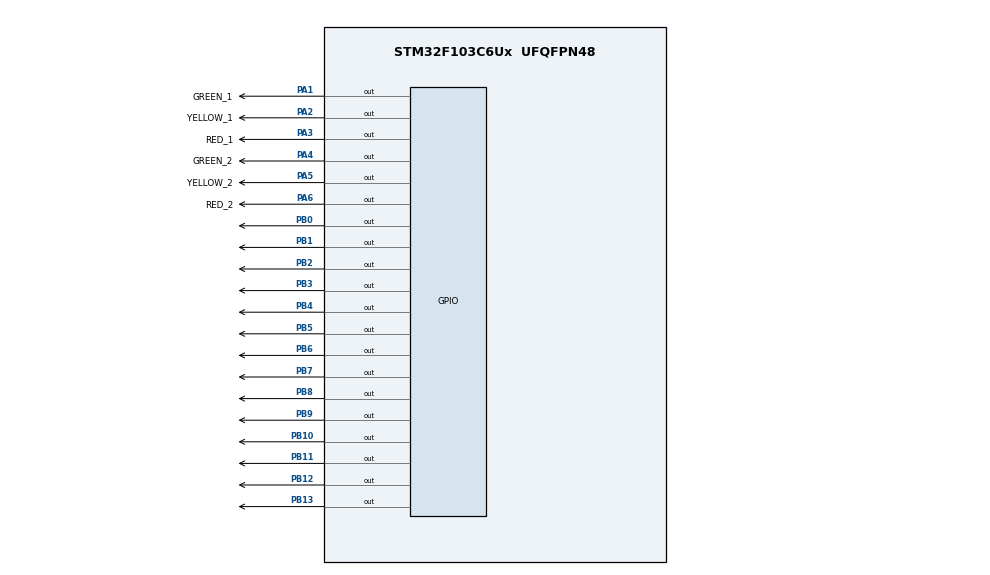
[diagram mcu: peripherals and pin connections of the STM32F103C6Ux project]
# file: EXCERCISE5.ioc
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Mcu.Family=STM32F1
Mcu.Name=STM32F103C6Ux
Mcu.Package=UFQFPN48
NVIC.PriorityGroup=NVIC_PRIORITYGROUP_4
PA1.GPIO_Label=GREEN_1
PA1.Signal=GPIO_Output
PA2.GPIO_Label=YELLOW_1
PA2.Signal=GPIO_Output
PA3.GPIO_Label=RED_1
PA3.Signal=GPIO_Output
PA4.GPIO_Label=GREEN_2
PA4.Signal=GPIO_Output
PA5.GPIO_Label=YELLOW_2
PA5.Signal=GPIO_Output
PA6.GPIO_Label=RED_2
PA6.Signal=GPIO_Output
PB0.Signal=GPIO_Output
PB1.Signal=GPIO_Output
PB10.Signal=GPIO_Output
PB11.Signal=GPIO_Output
PB12.Signal=GPIO_Output
PB13.Signal=GPIO_Output
PB2.Signal=GPIO_Output
PB3.Signal=GPIO_Output
PB4.Signal=GPIO_Output
PB5.Signal=GPIO_Output
PB6.Signal=GPIO_Output
PB7.Signal=GPIO_Output
PB8.Signal=GPIO_Output
PB9.Signal=GPIO_Output
ProjectManager.HeapSize=0x200
ProjectManager.StackSize=0x400
ProjectManager.TargetToolchain=STM32CubeIDE
RCC.APB1Freq_Value=8000000
RCC.APB2Freq_Value=8000000
VP_SYS_VS_ND.Mode=No_Debug
board=custom

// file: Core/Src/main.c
/* USER CODE BEGIN Header */
/**
  ******************************************************************************
  * @file           : main.c
  * @brief          : Main program body
  ******************************************************************************
  * @attention
  *
  * <h2><center>&copy; Copyright (c) 2023 STMicroelectronics.
  * All rights reserved.</center></h2>
  *
  * This software component is licensed by ST under BSD 3-Clause license,
  * the "License"; You may not use this file except in compliance with the
  * License. You may obtain a copy of the License at:
  *                        opensource.org/licenses/BSD-3-Clause
  *
  ******************************************************************************
  */
/* USER CODE END Header */
#include "main.h"

void SystemClock_Config(void);
static void MX_GPIO_Init(void);

int main(void)
{

  /* MCU Configuration--------------------------------------------------------*/

  /* Reset of all peripherals, Initializes the Flash interface and the Systick. */
  HAL_Init();

  /* Configure the system clock */
  SystemClock_Config();

  /* Initialize all configured peripherals */
  MX_GPIO_Init();

  /* Infinite loop */
  /* USER CODE BEGIN WHILE */
  void display7SEG( int num, uint32_t GPIO_PIN ){
    char LED7SEG [10] = {0xC0, 0xF9, 0xA4, 0xB0, 0x99, 0x92, 0x82, 0xF8, 0x80, 0x90 };
    for ( int i = 0; i < 7; ++ i) {
    HAL_GPIO_WritePin ( GPIOB , GPIO_PIN << i , ( LED7SEG [num ] >> i ) & 1) ;
    }
    }
  int countRED = 5, countYELLOW = 2, countGREEN = 3, LED_status = 1;
  while (1)
  {
		  if (LED_status == 1){
			  	  	  display7SEG(countGREEN, GPIO_PIN_7);
			  	  	  display7SEG(countRED, GPIO_PIN_0);
			  	  	  HAL_GPIO_WritePin(GPIOA, GREEN_1_Pin, SET);
			  	  	  HAL_GPIO_WritePin(GPIOA, YELLOW_1_Pin, RESET);
			  	  	  HAL_GPIO_WritePin(GPIOA, RED_1_Pin, RESET);
			  	  	  HAL_GPIO_WritePin(GPIOA, GREEN_2_Pin, RESET);
			  	  	  HAL_GPIO_WritePin(GPIOA, YELLOW_2_Pin, RESET);
			  	  	  HAL_GPIO_WritePin(GPIOA, RED_2_Pin, SET);
			  	  	  countGREEN --;
			  	  	  countRED --;
			  	  	  if (countGREEN < 0 ){
			  	  		  countGREEN = 3;
			  	  		  countRED ++;
			  	  		  LED_status = 2;
			      	  	  }
		  	  		}
	  	  if (LED_status == 2){
	  		      	  display7SEG(countYELLOW, GPIO_PIN_7);
	  		      	  display7SEG(countRED, GPIO_PIN_0);
	  		      	  HAL_GPIO_WritePin(GPIOA, GREEN_1_Pin, RESET);
	  		      	  HAL_GPIO_WritePin(GPIOA, YELLOW_1_Pin, SET);
	  		      	  HAL_GPIO_WritePin(GPIOA, RED_1_Pin, RESET);
	  		      	  HAL_GPIO_WritePin(GPIOA, GREEN_2_Pin, RESET);
	  		      	  HAL_GPIO_WritePin(GPIOA, YELLOW_2_Pin, RESET);
	  		      	  HAL_GPIO_WritePin(GPIOA, RED_2_Pin, SET);
	  		      	  countYELLOW --;
	  		      	  countRED --;
	  	  		  	  if (countYELLOW < 0){
	  	  		  		  countYELLOW = 2;
	  	  		  		  countRED = 5;
	  	  		  		  LED_status = 3;
	  	  		  	  }
	  	  	  	  }
	  	  if (LED_status == 3){
	  		          display7SEG(countRED, GPIO_PIN_7);
	  			  	  display7SEG(countGREEN, GPIO_PIN_0);
	  	  	  		  HAL_GPIO_WritePin(GPIOA, GREEN_1_Pin, RESET);
	  	  	  		  HAL_GPIO_WritePin(GPIOA, YELLOW_1_Pin, RESET);
	  	  	  		  HAL_GPIO_WritePin(GPIOA, RED_1_Pin, SET);
	  	  	  		  HAL_GPIO_WritePin(GPIOA, GREEN_2_Pin, SET);
	  	  	  		  HAL_GPIO_WritePin(GPIOA, YELLOW_2_Pin, RESET);
	  	  	  		  HAL_GPIO_WritePin(GPIOA, RED_2_Pin, RESET);
	  	  	  		  countGREEN --;
	  	  	  		  countRED --;
	  	  	  		  if (countGREEN < 0){
	  	  	  			  countGREEN = 3;
	  	  	  			  countRED ++;
	  	  	  			  LED_status = 4;
	  	  	  		  }
	  	  	  	  }
	  	  if (LED_status == 4){
	  		          display7SEG(countRED, GPIO_PIN_7);
	  			  	  display7SEG(countYELLOW, GPIO_PIN_0);
	  	  	  		  HAL_GPIO_WritePin(GPIOA, GREEN_1_Pin, RESET);
	  	  	  		  HAL_GPIO_WritePin(GPIOA, YELLOW_1_Pin, RESET);
	  	  	  		  HAL_GPIO_WritePin(GPIOA, RED_1_Pin, SET);
	  	  	  		  HAL_GPIO_WritePin(GPIOA, GREEN_2_Pin, RESET);
	  	  	  		  HAL_GPIO_WritePin(GPIOA, YELLOW_2_Pin, SET);
	  	  	  		  HAL_GPIO_WritePin(GPIOA, RED_2_Pin, RESET);
	  	  	  		  countYELLOW --;
	  	  	  		  countRED --;
	  	  	  		  if (countYELLOW <= 0){
	  	  	  			  countYELLOW = 2;
	  	  	  			  countRED = 5;
	  	  	  			  LED_status = 1;
	  	  	  		  }
	  	  	  	  }
	  	  HAL_Delay(1000);
    /* USER CODE END WHILE */

  }
}

void SystemClock_Config(void)
{
  RCC_OscInitTypeDef RCC_OscInitStruct = {0};
  RCC_ClkInitTypeDef RCC_ClkInitStruct = {0};

  /** Initializes the RCC Oscillators according to the specified parameters
  * in the RCC_OscInitTypeDef structure.
  */
  RCC_OscInitStruct.OscillatorType = RCC_OSCILLATORTYPE_HSI;
  RCC_OscInitStruct.HSIState = RCC_HSI_ON;
  RCC_OscInitStruct.HSICalibrationValue = RCC_HSICALIBRATION_DEFAULT;
  RCC_OscInitStruct.PLL.PLLState = RCC_PLL_NONE;
  if (HAL_RCC_OscConfig(&RCC_OscInitStruct) != HAL_OK)
  {
    Error_Handler();
  }
  /** Initializes the CPU, AHB and APB buses clocks
  */
  RCC_ClkInitStruct.ClockType = RCC_CLOCKTYPE_HCLK|RCC_CLOCKTYPE_SYSCLK
                              |RCC_CLOCKTYPE_PCLK1|RCC_CLOCKTYPE_PCLK2;
  RCC_ClkInitStruct.SYSCLKSource = RCC_SYSCLKSOURCE_HSI;
  RCC_ClkInitStruct.AHBCLKDivider = RCC_SYSCLK_DIV1;
  RCC_ClkInitStruct.APB1CLKDivider = RCC_HCLK_DIV1;
  RCC_ClkInitStruct.APB2CLKDivider = RCC_HCLK_DIV1;

  if (HAL_RCC_ClockConfig(&RCC_ClkInitStruct, FLASH_LATENCY_0) != HAL_OK)
  {
    Error_Handler();
  }
}

static void MX_GPIO_Init(void)
{
  GPIO_InitTypeDef GPIO_InitStruct = {0};

  /* GPIO Ports Clock Enable */
  __HAL_RCC_GPIOA_CLK_ENABLE();
  __HAL_RCC_GPIOB_CLK_ENABLE();

  /*Configure GPIO pin Output Level */
  HAL_GPIO_WritePin(GPIOA, GREEN_1_Pin|YELLOW_1_Pin|RED_1_Pin|GREEN_2_Pin
                          |YELLOW_2_Pin|RED_2_Pin, GPIO_PIN_RESET);

  /*Configure GPIO pin Output Level */
  HAL_GPIO_WritePin(GPIOB, GPIO_PIN_0|GPIO_PIN_1|GPIO_PIN_2|GPIO_PIN_10
                          |GPIO_PIN_11|GPIO_PIN_12|GPIO_PIN_13|GPIO_PIN_3
                          |GPIO_PIN_4|GPIO_PIN_5|GPIO_PIN_6|GPIO_PIN_7
                          |GPIO_PIN_8|GPIO_PIN_9, GPIO_PIN_RESET);

  /*Configure GPIO pins : GREEN_1_Pin YELLOW_1_Pin RED_1_Pin GREEN_2_Pin
                           YELLOW_2_Pin RED_2_Pin */
  GPIO_InitStruct.Pin = GREEN_1_Pin|YELLOW_1_Pin|RED_1_Pin|GREEN_2_Pin
                          |YELLOW_2_Pin|RED_2_Pin;
  GPIO_InitStruct.Mode = GPIO_MODE_OUTPUT_PP;
  GPIO_InitStruct.Pull = GPIO_NOPULL;
  GPIO_InitStruct.Speed = GPIO_SPEED_FREQ_LOW;
  HAL_GPIO_Init(GPIOA, &GPIO_InitStruct);

  /*Configure GPIO pins : PB0 PB1 PB2 PB10
                           PB11 PB12 PB13 PB3
                           PB4 PB5 PB6 PB7
                           PB8 PB9 */
  GPIO_InitStruct.Pin = GPIO_PIN_0|GPIO_PIN_1|GPIO_PIN_2|GPIO_PIN_10
                          |GPIO_PIN_11|GPIO_PIN_12|GPIO_PIN_13|GPIO_PIN_3
                          |GPIO_PIN_4|GPIO_PIN_5|GPIO_PIN_6|GPIO_PIN_7
                          |GPIO_PIN_8|GPIO_PIN_9;
  GPIO_InitStruct.Mode = GPIO_MODE_OUTPUT_PP;
  GPIO_InitStruct.Pull = GPIO_NOPULL;
  GPIO_InitStruct.Speed = GPIO_SPEED_FREQ_LOW;
  HAL_GPIO_Init(GPIOB, &GPIO_InitStruct);

}

void Error_Handler(void)
{
  __disable_irq();
  while (1)
  {
  }
}

/************************ (C) COPYRIGHT STMicroelectronics *****END OF FILE****/
